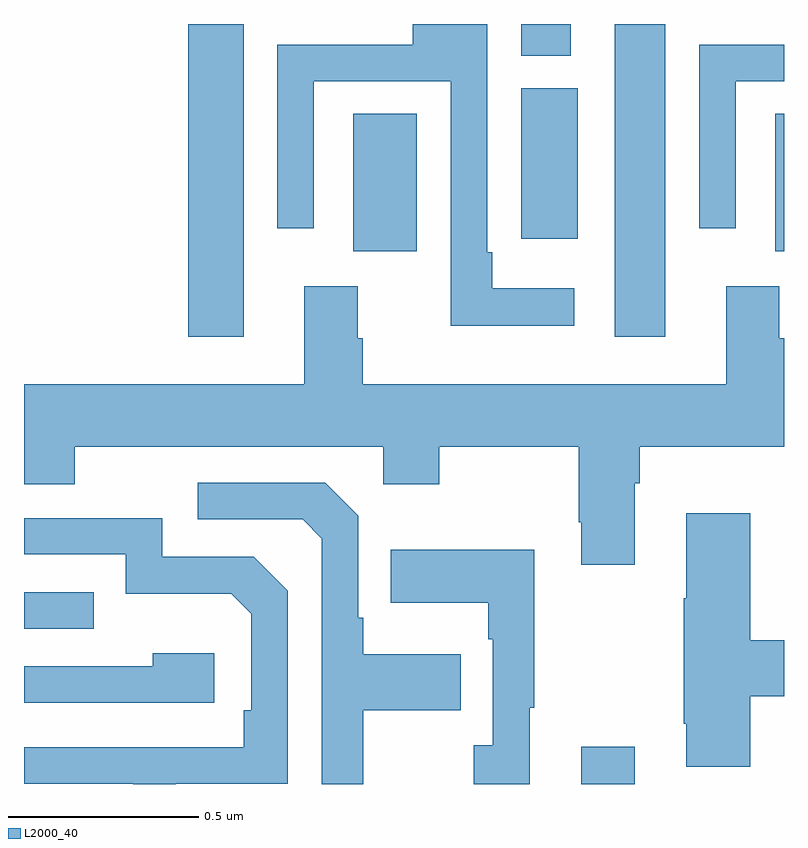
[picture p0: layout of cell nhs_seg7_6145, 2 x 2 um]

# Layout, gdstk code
import gdstk
lib = gdstk.Library(unit=1e-6, precision=1e-09)
def R(c, l, rs):  # rectangles x0, y0, x1, y1
    for r in rs: c.add(gdstk.rectangle(r[:2], r[2:], *l))
def P(c, l, *ps):  # polygons
    for p in ps: c.add(gdstk.Polygon(p, *l))
L2000_40 = (2000, 40)

nhs_seg7_6145 = lib.new_cell('nhs_seg7_6145')
R(nhs_seg7_6145, L2000_40, [(195.467,1061,195.607,1061.098), (194,1061.409,194.183,1061.505), (194.432,1062.177,194.578,1063), (195.554,1062.177,195.688,1063), (194.867,1062.402,195.034,1062.764), (195.977,1062.402,196,1062.764), (195.308,1062.435,195.457,1062.831), (195.308,1062.916,195.439,1063)])
P(nhs_seg7_6145, L2000_40, [(195.448,1062.304),(195.232,1062.304),(195.232,1062.4),(195.219,1062.4),(195.219,1063),(195.023,1063),(195.023,1062.945),(194.667,1062.945),(194.667,1062.462),(194.763,1062.462),(194.763,1062.849),(195.123,1062.849),(195.123,1062.206),(195.448,1062.206)],
  [(195.873,1062.849),(196,1062.849),(196,1062.945),(195.777,1062.945),(195.777,1062.462),(195.873,1062.462)],
  [(195.607,1061.792),(195.62,1061.792),(195.62,1061.888),(196,1061.888),(196,1062.173),(195.988,1062.173),(195.988,1062.31),(195.848,1062.31),(195.848,1062.052),(194.891,1062.052),(194.891,1062.173),(194.878,1062.173),(194.878,1062.31),(194.738,1062.31),(194.738,1062.052),(194,1062.052),(194,1061.789),(194.133,1061.789),(194.133,1061.888),(194.946,1061.888),(194.946,1061.789),(195.093,1061.789),(195.093,1061.888),(195.46,1061.888),(195.46,1061.689),(195.467,1061.689),(195.467,1061.577),(195.607,1061.577)],
  [(194.893,1061.194),(195.149,1061.194),(195.149,1061.341),(194.893,1061.341),(194.893,1061.437),(194.88,1061.437),(194.88,1061.706),(194.793,1061.793),(194.457,1061.793),(194.457,1061.697),(194.733,1061.697),(194.784,1061.646),(194.784,1061),(194.893,1061)],
  [(195.911,1061.231),(196,1061.231),(196,1061.378),(195.911,1061.378),(195.911,1061.713),(195.743,1061.713),(195.743,1061.489),(195.736,1061.489),(195.736,1061.158),(195.743,1061.158),(195.743,1061.046),(195.911,1061.046)],
  [(194.399,1061.001),(194.694,1061.001),(194.694,1061.508),(194.604,1061.598),(194.364,1061.598),(194.364,1061.7),(194,1061.7),(194,1061.604),(194.268,1061.604),(194.268,1061.501),(194.545,1061.501),(194.598,1061.448),(194.598,1061.194),(194.578,1061.194),(194.578,1061.097),(194,1061.097),(194,1061.001),(194.287,1061.001),(194.287,1061),(194.399,1061)],
  [(195.331,1061.201),(195.343,1061.201),(195.343,1061.617),(194.965,1061.617),(194.965,1061.477),(195.222,1061.477),(195.222,1061.381),(195.234,1061.381),(195.234,1061.102),(195.183,1061.102),(195.183,1061),(195.331,1061)],
  [(194.5,1061.344),(194.339,1061.344),(194.339,1061.31),(194,1061.31),(194,1061.214),(194.5,1061.214)])

lib.write_gds('nhs_seg7_6145.gds')
